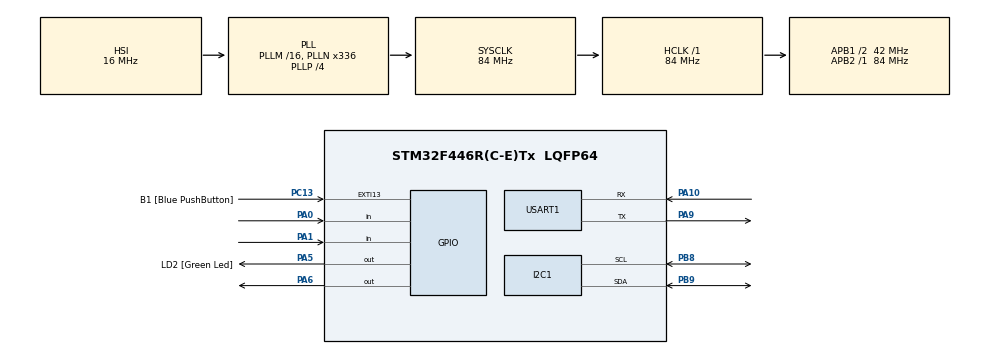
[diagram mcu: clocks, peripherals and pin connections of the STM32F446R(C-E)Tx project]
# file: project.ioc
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Mcu.Family=STM32F4
Mcu.Name=STM32F446R(C-E)Tx
Mcu.Package=LQFP64
NVIC.PriorityGroup=NVIC_PRIORITYGROUP_0
PA0-WKUP.GPIO_PuPd=GPIO_PULLUP
PA0-WKUP.Signal=GPIO_Input
PA1.GPIO_PuPd=GPIO_PULLUP
PA1.Signal=GPIO_Input
PA10.Mode=Asynchronous
PA10.Signal=USART1_RX
PA13.GPIO_Label=TMS
PA13.Mode=Serial_Wire
PA13.Signal=SYS_JTMS-SWDIO
PA14.GPIO_Label=TCK
PA14.Mode=Serial_Wire
PA14.Signal=SYS_JTCK-SWCLK
PA5.GPIO_Label=LD2 [Green Led]
PA5.Signal=GPIO_Output
PA6.Signal=GPIO_Output
PA9.Mode=Asynchronous
PA9.Signal=USART1_TX
PB3.GPIO_Label=SWO
PB3.Signal=SYS_JTDO-SWO
PB8.Mode=I2C
PB8.Signal=I2C1_SCL
PB9.Mode=I2C
PB9.Signal=I2C1_SDA
PC13.GPIO_Label=B1 [Blue PushButton]
PC13.GPIO_ModeDefaultEXTI=GPIO_MODE_IT_FALLING
PC13.Signal=GPXTI13
PC14-OSC32_IN.Mode=LSE-External-Oscillator
PC14-OSC32_IN.Signal=RCC_OSC32_IN
PC15-OSC32_OUT.Mode=LSE-External-Oscillator
PC15-OSC32_OUT.Signal=RCC_OSC32_OUT
PH0-OSC_IN.Mode=HSE-External-Oscillator
PH0-OSC_IN.Signal=RCC_OSC_IN
PH1-OSC_OUT.Mode=HSE-External-Oscillator
PH1-OSC_OUT.Signal=RCC_OSC_OUT
ProjectManager.HeapSize=0x200
ProjectManager.StackSize=0x400
ProjectManager.TargetToolchain=STM32CubeIDE
RCC.48MHZClocksFreq_Value=84000000
RCC.AHBFreq_Value=84000000
RCC.APB1CLKDivider=RCC_HCLK_DIV2
RCC.APB1Freq_Value=42000000
RCC.APB1TimFreq_Value=84000000
RCC.APB2Freq_Value=84000000
RCC.APB2TimFreq_Value=84000000
RCC.CortexFreq_Value=84000000
RCC.FLatency-AdvancedSettings=FLASH_LATENCY_2
RCC.HCLKFreq_Value=84000000
RCC.HSE_VALUE=8000000
RCC.HSI_VALUE=16000000
RCC.PLLN=336
RCC.PLLP=RCC_PLLP_DIV4
RCC.SYSCLKFreq_VALUE=84000000
RCC.SYSCLKSource=RCC_SYSCLKSOURCE_PLLCLK
RCC.USBFreq_Value=168000000
RCC.VCOOutputFreq_Value=336000000
USART1.VirtualMode=VM_ASYNC
board=NUCLEO-F446RE

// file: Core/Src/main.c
/* USER CODE BEGIN Header */
/**
  ******************************************************************************
  * @file           : main.c
  * @brief          : Main program body
  ******************************************************************************
  * @attention
  *
  * Copyright (c) 2026 STMicroelectronics.
  * All rights reserved.
  *
  * This software is licensed under terms that can be found in the LICENSE file
  * in the root directory of this software component.
  * If no LICENSE file comes with this software, it is provided AS-IS.
  *
  ******************************************************************************
  */
/* USER CODE END Header */
#include "main.h"
#include "i2c-lcd.h"
#include <stdio.h>
#include <string.h>
uint32_t motor_start_time = 0;
uint32_t conveyor_start_time = 0;

I2C_HandleTypeDef hi2c1;

UART_HandleTypeDef huart1;

/* USER CODE BEGIN PV */
int system_on = 0;
int motor_on = 0;
int conveyor_on = 0;

uint32_t t1_start = 0;
uint32_t t2_start = 0;
uint32_t t3_start = 0;

int t1_done = 0;
int t2_done = 0;
/* USER CODE END PV */

void SystemClock_Config(void);
static void MX_GPIO_Init(void);
static void MX_I2C1_Init(void);
static void MX_USART1_UART_Init(void);

int main(void)
{

  /* MCU Configuration--------------------------------------------------------*/

  /* Reset of all peripherals, Initializes the Flash interface and the Systick. */
  HAL_Init();

  /* Configure the system clock */
  SystemClock_Config();

  /* Initialize all configured peripherals */
  MX_GPIO_Init();
  MX_I2C1_Init();
  MX_USART1_UART_Init();
  /* USER CODE BEGIN 2 */
  lcd_init();
  lcd_clear();

  // STARTUP MESSAGE
  lcd_put_cur(0,0);
  lcd_send_string("System Starting");
  lcd_put_cur(1,0);
  lcd_send_string("Please Wait...");

  HAL_Delay(2000);

  lcd_clear();

  /* USER CODE END 2 */

  /* Infinite loop */
  /* USER CODE BEGIN WHILE */
  while (1)
  {
      // ----------- GLOBAL STATIC -----------
      static uint32_t last_sec = 999;
      static int last_state = -1;

      char uart_msg[20];
      char buffer[20];
      uint8_t rx_data;

      // ----------- UART RECEIVE (ESP32 CONTROL) -----------

      if(HAL_UART_Receive(&huart1, &rx_data, 1, 10) == HAL_OK)
      {
          if(rx_data == '1')
              system_on = 1;

          else if(rx_data == '0')
              system_on = 0;
      }

      // ----------- BUTTON INPUT -----------

      if(HAL_GPIO_ReadPin(GPIOA, GPIO_PIN_0) == GPIO_PIN_RESET)
      {
          system_on = 1;
          HAL_Delay(200);
      }

      if(HAL_GPIO_ReadPin(GPIOA, GPIO_PIN_1) == GPIO_PIN_RESET)
      {
          system_on = 0;

          motor_on = 0;
          conveyor_on = 0;

          t1_done = 0;
          t2_done = 0;

          t1_start = 0;
          t2_start = 0;
          t3_start = 0;

          last_sec = 999;

          HAL_Delay(200);
      }

      // ----------- TIMER SEQUENCE -----------

      if(system_on && !t1_done)
      {
          if(t1_start == 0)
              t1_start = HAL_GetTick();

          if(HAL_GetTick() - t1_start >= 5000)
          {
              t1_done = 1;
              t2_start = HAL_GetTick();
          }
      }

      if(t1_done && !t2_done)
      {
          if(motor_on == 0)
              motor_start_time = HAL_GetTick();

          motor_on = 1;

          if(HAL_GetTick() - t2_start >= 20000)
          {
              t2_done = 1;
              motor_on = 0;
              t3_start = HAL_GetTick();
          }
      }

      if(t2_done)
      {
          if(conveyor_on == 0)
              conveyor_start_time = HAL_GetTick();

          conveyor_on = 1;

          if(HAL_GetTick() - t3_start >= 8000)
          {
              conveyor_on = 0;

              system_on = 0;

              t1_done = 0;
              t2_done = 0;

              t1_start = 0;
              t2_start = 0;
              t3_start = 0;

              last_sec = 999;
          }
      }

      // ----------- OUTPUT -----------

      HAL_GPIO_WritePin(GPIOA, GPIO_PIN_5, motor_on ? GPIO_PIN_SET : GPIO_PIN_RESET);
      HAL_GPIO_WritePin(GPIOA, GPIO_PIN_6, conveyor_on ? GPIO_PIN_SET : GPIO_PIN_RESET);

      // ----------- LCD DISPLAY -----------

      if(motor_on && last_state != 1)
      {
          lcd_clear();
          last_state = 1;
          last_sec = 999;
      }
      else if(conveyor_on && last_state != 2)
      {
          lcd_clear();
          last_state = 2;
          last_sec = 999;
      }
      else if(!motor_on && !conveyor_on && last_state != 0)
      {
          lcd_clear();
          last_state = 0;
          last_sec = 999;
      }

      if(motor_on)
      {
          uint32_t sec = (HAL_GetTick() - motor_start_time) / 1000;

          lcd_put_cur(0,0);
          lcd_send_string("Motor ON     ");

          lcd_put_cur(1,0);
          sprintf(buffer, "Time %02lu s", sec);
          lcd_send_string(buffer);

          // UART (send only when time changes)
          if(sec != last_sec)
          {
              snprintf(uart_msg, sizeof(uart_msg), "M%lu\n", (unsigned long)sec);
              HAL_UART_Transmit(&huart1, (uint8_t*)uart_msg, strlen(uart_msg), 100);
              last_sec = sec;
          }
      }
      else if(conveyor_on)
      {
          uint32_t sec = (HAL_GetTick() - conveyor_start_time) / 1000;

          lcd_put_cur(0,0);
          lcd_send_string("Conveyor ON  ");

          lcd_put_cur(1,0);
          sprintf(buffer, "Time %02lu s", sec);
          lcd_send_string(buffer);

          // UART
          if(sec != last_sec)
          {
              snprintf(uart_msg, sizeof(uart_msg), "C%lu\n", (unsigned long)sec);
              HAL_UART_Transmit(&huart1, (uint8_t*)uart_msg, strlen(uart_msg), 100);
              last_sec = sec;
          }
      }
      else
      {
          lcd_put_cur(0,0);
          lcd_send_string("System Idle  ");

          lcd_put_cur(1,0);
          lcd_send_string("             ");

          // UART (send once)
          if(last_sec != 1000)
          {
              snprintf(uart_msg, sizeof(uart_msg), "I\n");
              HAL_UART_Transmit(&huart1, (uint8_t*)uart_msg, strlen(uart_msg), 100);
              last_sec = 1000;
          }
      }
  }
}

void SystemClock_Config(void)
{
  RCC_OscInitTypeDef RCC_OscInitStruct = {0};
  RCC_ClkInitTypeDef RCC_ClkInitStruct = {0};

  /** Configure the main internal regulator output voltage
  */
  __HAL_RCC_PWR_CLK_ENABLE();
  __HAL_PWR_VOLTAGESCALING_CONFIG(PWR_REGULATOR_VOLTAGE_SCALE3);

  /** Initializes the RCC Oscillators according to the specified parameters
  * in the RCC_OscInitTypeDef structure.
  */
  RCC_OscInitStruct.OscillatorType = RCC_OSCILLATORTYPE_HSI;
  RCC_OscInitStruct.HSIState = RCC_HSI_ON;
  RCC_OscInitStruct.HSICalibrationValue = RCC_HSICALIBRATION_DEFAULT;
  RCC_OscInitStruct.PLL.PLLState = RCC_PLL_ON;
  RCC_OscInitStruct.PLL.PLLSource = RCC_PLLSOURCE_HSI;
  RCC_OscInitStruct.PLL.PLLM = 16;
  RCC_OscInitStruct.PLL.PLLN = 336;
  RCC_OscInitStruct.PLL.PLLP = RCC_PLLP_DIV4;
  RCC_OscInitStruct.PLL.PLLQ = 2;
  RCC_OscInitStruct.PLL.PLLR = 2;
  if (HAL_RCC_OscConfig(&RCC_OscInitStruct) != HAL_OK)
  {
    Error_Handler();
  }

  /** Initializes the CPU, AHB and APB buses clocks
  */
  RCC_ClkInitStruct.ClockType = RCC_CLOCKTYPE_HCLK|RCC_CLOCKTYPE_SYSCLK
                              |RCC_CLOCKTYPE_PCLK1|RCC_CLOCKTYPE_PCLK2;
  RCC_ClkInitStruct.SYSCLKSource = RCC_SYSCLKSOURCE_PLLCLK;
  RCC_ClkInitStruct.AHBCLKDivider = RCC_SYSCLK_DIV1;
  RCC_ClkInitStruct.APB1CLKDivider = RCC_HCLK_DIV2;
  RCC_ClkInitStruct.APB2CLKDivider = RCC_HCLK_DIV1;

  if (HAL_RCC_ClockConfig(&RCC_ClkInitStruct, FLASH_LATENCY_2) != HAL_OK)
  {
    Error_Handler();
  }
}

static void MX_I2C1_Init(void)
{

  hi2c1.Instance = I2C1;
  hi2c1.Init.ClockSpeed = 100000;
  hi2c1.Init.DutyCycle = I2C_DUTYCYCLE_2;
  hi2c1.Init.OwnAddress1 = 0;
  hi2c1.Init.AddressingMode = I2C_ADDRESSINGMODE_7BIT;
  hi2c1.Init.DualAddressMode = I2C_DUALADDRESS_DISABLE;
  hi2c1.Init.OwnAddress2 = 0;
  hi2c1.Init.GeneralCallMode = I2C_GENERALCALL_DISABLE;
  hi2c1.Init.NoStretchMode = I2C_NOSTRETCH_DISABLE;
  if (HAL_I2C_Init(&hi2c1) != HAL_OK)
  {
    Error_Handler();
  }

}

static void MX_USART1_UART_Init(void)
{

  huart1.Instance = USART1;
  huart1.Init.BaudRate = 115200;
  huart1.Init.WordLength = UART_WORDLENGTH_8B;
  huart1.Init.StopBits = UART_STOPBITS_1;
  huart1.Init.Parity = UART_PARITY_NONE;
  huart1.Init.Mode = UART_MODE_TX_RX;
  huart1.Init.HwFlowCtl = UART_HWCONTROL_NONE;
  huart1.Init.OverSampling = UART_OVERSAMPLING_16;
  if (HAL_UART_Init(&huart1) != HAL_OK)
  {
    Error_Handler();
  }

}

static void MX_GPIO_Init(void)
{
  GPIO_InitTypeDef GPIO_InitStruct = {0};

  /* GPIO Ports Clock Enable */
  __HAL_RCC_GPIOC_CLK_ENABLE();
  __HAL_RCC_GPIOH_CLK_ENABLE();
  __HAL_RCC_GPIOA_CLK_ENABLE();
  __HAL_RCC_GPIOB_CLK_ENABLE();

  /*Configure GPIO pin Output Level */
  HAL_GPIO_WritePin(GPIOA, LD2_Pin|GPIO_PIN_6, GPIO_PIN_RESET);

  /*Configure GPIO pin : B1_Pin */
  GPIO_InitStruct.Pin = B1_Pin;
  GPIO_InitStruct.Mode = GPIO_MODE_IT_FALLING;
  GPIO_InitStruct.Pull = GPIO_NOPULL;
  HAL_GPIO_Init(B1_GPIO_Port, &GPIO_InitStruct);

  /*Configure GPIO pins : PA0 PA1 */
  GPIO_InitStruct.Pin = GPIO_PIN_0|GPIO_PIN_1;
  GPIO_InitStruct.Mode = GPIO_MODE_INPUT;
  GPIO_InitStruct.Pull = GPIO_PULLUP;
  HAL_GPIO_Init(GPIOA, &GPIO_InitStruct);

  /*Configure GPIO pins : LD2_Pin PA6 */
  GPIO_InitStruct.Pin = LD2_Pin|GPIO_PIN_6;
  GPIO_InitStruct.Mode = GPIO_MODE_OUTPUT_PP;
  GPIO_InitStruct.Pull = GPIO_NOPULL;
  GPIO_InitStruct.Speed = GPIO_SPEED_FREQ_LOW;
  HAL_GPIO_Init(GPIOA, &GPIO_InitStruct);

}

void Error_Handler(void)
{
  __disable_irq();
  while (1)
  {
  }
}
